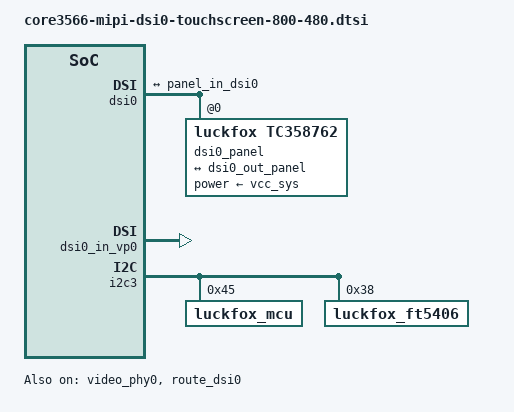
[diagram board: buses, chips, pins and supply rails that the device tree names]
// SPDX-License-Identifier: (GPL-2.0+ OR MIT)
/*
 * Copyright (c) 2023 luckfox technology Limited.
 */
&video_phy0 {
    status = "okay";
};

&dsi0 {
	status = "okay";
	
	power-supply = <&vcc_sys>;

	dsi0_panel: dsi-panel@0 {
		compatible = "luckfox,tc358762";
		reg = <0x0>;
		status = "okay";
		power-supply = <&vcc_sys>;

		ports {			
			#address-cells = <1>;
			#size-cells = <0>;

			port@0 {
				reg = <0>;

				panel_in_dsi0: endpoint {
					remote-endpoint = <&dsi0_out_panel>;
				};
			};
		};
	};

	ports {
		#address-cells = <1>;
		#size-cells = <0>;

		port@1 {
			reg = <1>;
			#address-cells = <1>;
			#size-cells = <0>;

			dsi0_out_panel: endpoint@0 {
				reg = <0>;
				remote-endpoint = <&panel_in_dsi0>;
			};
		};
	};
};

&dsi0_in_vp0 {
	status = "okay";
};

&dsi0_in_vp1 {
	status = "disabled";
};

&route_dsi0 {
	status = "okay";
	connect = <&vp0_out_dsi0>;
};

// &i2c4 {
// 	status = "okay";
// 	pinctrl-0 = <&i2c4m0_xfer>;

// 	luckfox_mcu: luckfox_mcu@45 {
// 		compatible = "luckfox_mcu";
// 		reg = <0x45>;
// 		status = "okay";
// 	};

// 	luckfox_ft5406: luckfox_ft5406@38 {
// 		compatible = "luckfox_ft5406";
// 		reg = <0x38>;
// 		status = "okay";
// 	};
// };

&i2c3 {
	status = "okay";
	pinctrl-0 = <&i2c3m1_xfer>;

	luckfox_mcu: luckfox_mcu@45 {
		compatible = "luckfox_mcu";
		reg = <0x45>;
		status = "okay";
	};

	luckfox_ft5406: luckfox_ft5406@38 {
		compatible = "luckfox_ft5406";
		reg = <0x38>;
		status = "okay";
	};
};
